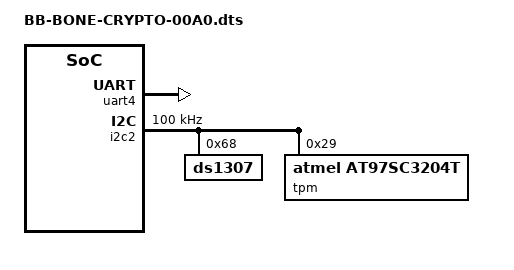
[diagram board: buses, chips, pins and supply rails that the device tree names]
/*
 * Copyright (C) 2014 Cryptotronix
 *
 * Cape support for the CryptoCape
 *
 * This program is free software; you can redistribute it and/or modify
 * it under the terms of the GNU General Public License version 2 as
 * published by the Free Software Foundation.
 */
/dts-v1/;
/plugin/;

#include <dt-bindings/board/am335x-bbw-bbb-base.h>
#include <dt-bindings/pinctrl/am33xx.h>

/ {
	compatible = "ti,beaglebone", "ti,beaglebone-black", "ti,beaglebone-green";

	/* identification */
	part-number = "BB-BONE-CRYPTO";
	version = "00A0";

	/* state the resources this cape uses */
	exclusive-use =
		/* the pin header uses */
		/* For Flashing the ATmega328p */
		"P9.13",	/* uart4_txd */
		"P9.11",	/* uart4_rxd */
		"P9.23",	/* gpio1_17 */
		/* As the AUTHO Input from the AES132 */
		"P8.11",	/* gpio1_13 */

		/* the hardware ip uses */
		"uart4",
		"gpio1_13",
		"gpio1_17";

	fragment@0 {
		target = <&am33xx_pinmux>;
		__overlay__ {
			cryptocape_pins: pinmux_cryptocape_pins {
				pinctrl-single,pins = <
					0x044 0x17	/* gpio1_17 FAST | OUTPUT | PULLUP | MODE7 */
					0x034 0x2F	/* gpio1_13 FAST | INPUT | PULLDOWN | MODE7 */
				>;
			};

			bb_uart4_pins: pinmux_bb_uart4_pins {
				pinctrl-single,pins = <
					BONE_P9_11 (PIN_INPUT_PULLUP | MUX_MODE6) /* gpmc_wait0.uart4_rxd_mux2 */
					BONE_P9_13 (PIN_OUTPUT_PULLDOWN | MUX_MODE6) /* gpmc_wpn.uart4_txd_mux2 */
				>;
			};
		};
	};

	fragment@1 {
		target = <&uart4>;
		__overlay__ {
			status = "okay";
			pinctrl-names = "default";
			pinctrl-0 = <&bb_uart4_pins>;
		};
	};

	fragment@2 {
		target = <&i2c2>;
		__overlay__ {

			status = "okay";

			/* this is the configuration part */
			clock-frequency = <100000>;

			#address-cells = <1>;
			#size-cells = <0>;

			/* Real Time Clock */
			ds1307@68 {
				compatible = "ds1307";
				reg = <0x68>;
			};

			tpm@29 {
				compatible = "atmel,at97sc3204t";
				reg = <0x29>;
			};
		};
	};
};
